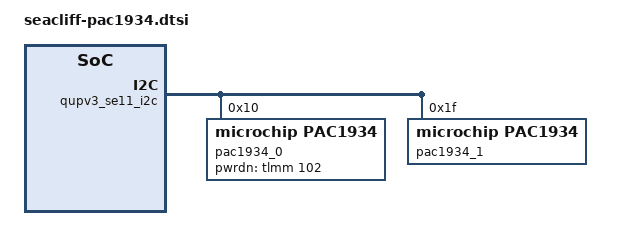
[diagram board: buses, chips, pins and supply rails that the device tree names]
// SPDX-License-Identifier: GPL-2.0

&qupv3_se11_i2c {
	pac1934_0: pac1934@10 {
		compatible = "microchip,pac1934";
		pac193x,pwrdn_gpio = <&tlmm 102 0x0>;
		reg = <0x10>;
		samp-rate = <1024>;
		status = "okay";

		rail1 {
			rail-name = "rail1";
			subsys-name = "VPH_S7S8S9A";
			uohms-shunt-res = <10000>;
			channel_enabled;
		};

		rail2 {
			rail-name = "rail2";
			subsys-name = "VPH_S10A";
			uohms-shunt-res = <10000>;
			channel_enabled;
		};

		rail3 {
			rail-name = "rail3";
			subsys-name = "VPH_S1S2S3A";
			uohms-shunt-res = <10000>;
			channel_enabled;
		};

		rail4 {
			rail-name = "rail4";
			subsys-name = "L3A";
			uohms-shunt-res = <5000>;
			channel_enabled;
		};
	};

	pac1934_1: pac1934@1f {
		compatible = "microchip,pac1934";
		reg = <0x1f>;
		samp-rate = <1024>;
		status = "okay";

		rail1 {
			rail-name = "rail1";
			subsys-name = "VPH_S3C";
			uohms-shunt-res = <10000>;
			channel_enabled;
		};

		rail2 {
			rail-name = "rail2";
			subsys-name = "VPH_S7C";
			uohms-shunt-res = <10000>;
			channel_enabled;
		};

		rail3 {
			rail-name = "rail3";
			subsys-name = "S1H";
			uohms-shunt-res = <5000>;
			channel_enabled;
		};

		rail4 {
			rail-name = "rail4";
			subsys-name = "VPH_S1S2C";
			uohms-shunt-res = <10000>;
			channel_enabled;
		};
	};
};
